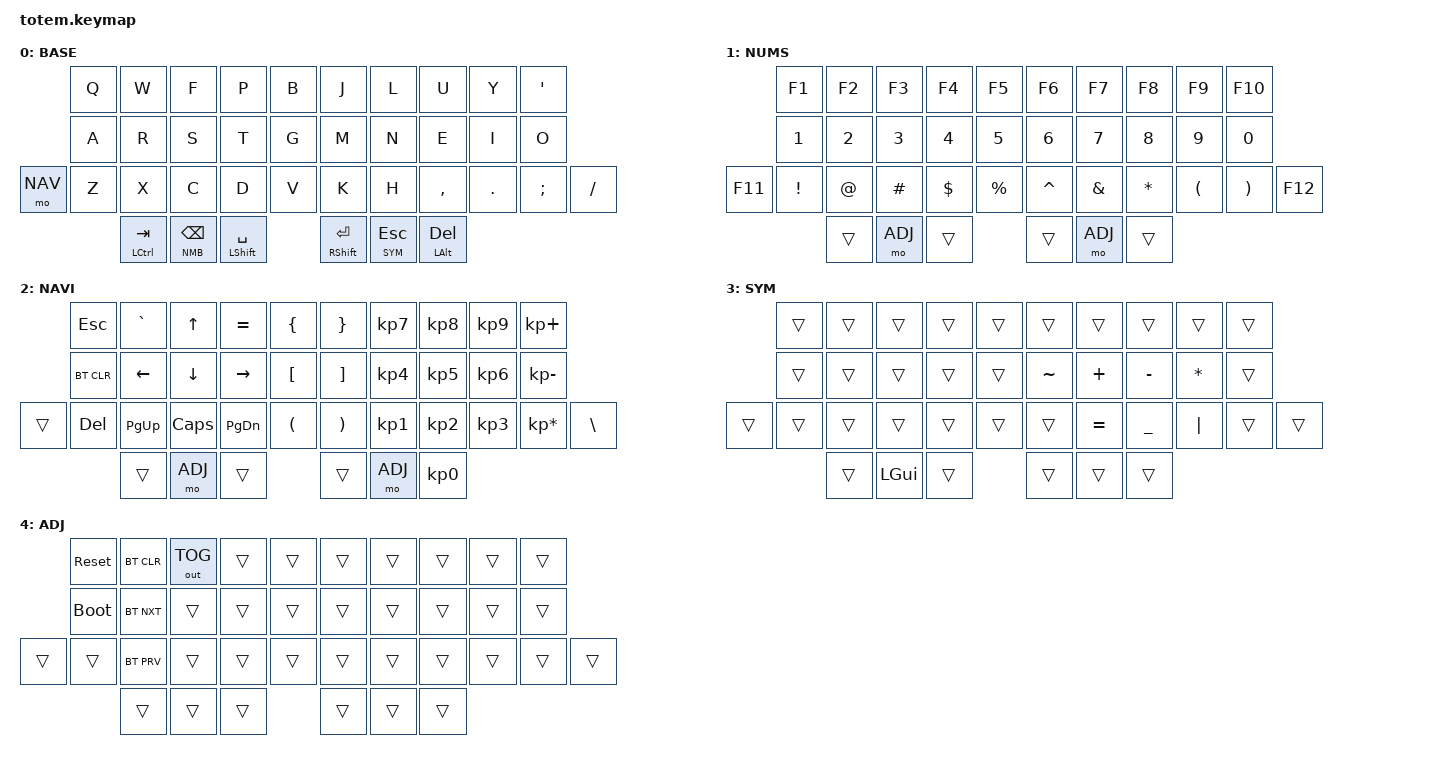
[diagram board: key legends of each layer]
//
//                                                        ▀▀▀▀▀     ▀▀▀▀▀          ▀▀█▀▀
//                                                        ▄▀▀▀▄  ▄  ▄▀▀▀▄  ▄  ▄▀▀▀▄  █  ▄▀▀▀▄
//                                                        █   █  █  █   █  █  █   █  █  █   █
//                                                         ▀▀▀   █   ▀▀▀   █   ▀▀▀   ▀   ▀▀▀
//                                                               █      ▄▄▄█▄▄▄    █   █  
//                                                               ▀      █  █  █     █▄█
//                                                             ▀▀▀▀▀    █  █  █      ▀
//                                                                      ▀  ▀  ▀
//
// ▄▄▄▄▄▄▄▄▄▄▄▄▄▄▄▄▄▄▄▄▄▄▄▄▄▄▄▄▄▄▄▄▄▄▄▄▄▄▄▄▄▄▄▄▄▄▄▄▄▄▄▄▄▄▄▄▄▄▄▄▄▄▄▄▄▄▄▄▄▄▄▄▄▄▄▄▄▄▄▄▄▄▄▄▄▄▄▄▄▄▄▄▄▄▄▄▄▄▄▄▄▄▄▄▄▄▄▄▄▄▄▄▄▄▄▄▄▄▄▄▄▄▄▄▄▄▄▄▄▄▄▄▄▄▄▄▄▄▄▄▄▄▄▄▄▄▄▄▄
       

#include <behaviors.dtsi>
#include <dt-bindings/zmk/keys.h>
#include <dt-bindings/zmk/bt.h>
#include <dt-bindings/zmk/outputs.h>

#define BASE 0
#define NMB  1
#define NAV  2
#define SYM  3
#define ADJ  4

&mt {
  quick-tap-ms = <150>;
  global-quick-tap;
  flavor = "hold-preferred";
  tapping-term-ms = <200>;
};

/ {
    keymap {
        compatible = "zmk,keymap";
// ▄▄▄▄▄▄▄▄▄▄▄▄▄▄▄▄▄▄▄▄▄▄▄▄▄▄▄▄▄▄▄▄▄▄▄▄▄▄▄▄▄▄▄▄▄▄▄▄▄▄▄▄▄▄▄▄▄▄▄▄▄▄▄▄▄▄▄▄▄▄▄▄▄▄▄▄▄▄▄▄▄▄▄▄▄▄▄▄▄▄▄▄▄▄▄▄▄▄▄▄▄▄▄▄▄▄▄▄▄▄▄▄▄▄▄▄▄▄▄▄▄▄▄▄▄▄▄▄▄▄▄▄▄▄▄▄▄▄▄▄▄▄▄▄▄▄▄▄▄

        base_layer {    
// ┏━━━━━━━━━━━━━━━━━━━━━━━━━━━━━━━━━━━━━━━┓
label= "BASE"                              ;
// ┗━━━━━━━━━━━━━━━━━━━━━━━━━━━━━━━━━━━━━━━┛
//             ┏━━━━━━━━━━━┳━━━━━━━━━━━┳━━━━━━━━━━━┳━━━━━━━━━━━┳━━━━━━━━━━━┓   ┏━━━━━━━━━━━┳━━━━━━━━━━━┳━━━━━━━━━━━┳━━━━━━━━━━━┳━━━━━━━━━━━┓
//             ┃     Q     ┃     W     ┃     F     ┃     P     ┃     B     ┃   ┃     J     ┃     L     ┃     U     ┃     Y     ┃  '    ''  ┃
//             ┣━━━━━━━━━━━╋━━━━━━━━━━━╋━━━━━━━━━━━╋━━━━━━━━━━━╋━━━━━━━━━━━┫   ┣━━━━━━━━━━━╋━━━━━━━━━━━╋━━━━━━━━━━━╋━━━━━━━━━━━╋━━━━━━━━━━━┫
//             ┃     A     ┃     R     ┃     S     ┃     T     ┃     G     ┃   ┃     M     ┃     N     ┃     E     ┃     I     ┃     O     ┃
// ┏━━━━━━━━━━━╋━━━━━━━━━━━╋━━━━━━━━━━━╋━━━━━━━━━━━╋━━━━━━━━━━━╋━━━━━━━━━━━┫   ┣━━━━━━━━━━━╋━━━━━━━━━━━╋━━━━━━━━━━━╋━━━━━━━━━━━╋━━━━━━━━━━━╋━━━━━━━━━━━┓
// ┃    nav    ┃     Z     ┃     X     ┃     C     ┃     D     ┃     V     ┃   ┃     K     ┃     H     ┃     ,     ┃     .     ┃     ;     ┃     /     ┃
// ┗━━━━━━━━━━━┻━━━━━━━━━━━┻━━━━━━━━━━━╋━━━━━━━━━━━╋━━━━━━━━━━━╋━━━━━━━━━━━┫   ┣━━━━━━━━━━━╋━━━━━━━━━━━╋━━━━━━━━━━━╋━━━━━━━━━━━┻━━━━━━━━━━━┻━━━━━━━━━━━┛
//                                     ┃    TAB    ┃    BSPC   ┃    SPC    ┃   ┃    ENTER  ┃    ESC    ┃    DEL    ┃
//                                     ┗━━━━━━━━━━━┻━━━━━━━━━━━┻━━━━━━━━━━━┛   ┗━━━━━━━━━━━┻━━━━━━━━━━━┻━━━━━━━━━━━┛
 bindings = <
// ╷           ╷           ╷           ╷           ╷           ╷           ╷   ╷           ╷           ╷           ╷           ╷           ╷           ╷

                &kp Q       &kp W       &kp F       &kp P       &kp B           &kp J       &kp L       &kp U       &kp Y       &kp APOS
                &kp A       &kp R       &kp S       &kp T       &kp G           &kp M       &kp N       &kp E       &kp I       &kp O
    &mo NAV     &kp Z       &kp X       &kp C       &kp D       &kp V           &kp K       &kp H       &kp COMMA   &kp DOT     &kp SEMI    &kp FSLH
                            &mt LCTRL TAB   &lt NMB BSPC   &mt LSHFT SPACE      &mt RSHFT RET   &lt SYM ESC   &mt LALT DEL
            >;
        };

// ▄▄▄▄▄▄▄▄▄▄▄▄▄▄▄▄▄▄▄▄▄▄▄▄▄▄▄▄▄▄▄▄▄▄▄▄▄▄▄▄▄▄▄▄▄▄▄▄▄▄▄▄▄▄▄▄▄▄▄▄▄▄▄▄▄▄▄▄▄▄▄▄▄▄▄▄▄▄▄▄▄▄▄▄▄▄▄▄▄▄▄▄▄▄▄▄▄▄▄▄▄▄▄▄▄▄▄▄▄▄▄▄▄▄▄▄▄▄▄▄▄▄▄▄▄▄▄▄▄▄▄▄▄▄▄▄▄▄▄▄▄▄▄▄▄▄▄▄▄


        nmb_layer {
// ┏━━━━━━━━━━━━━━━━━━━━━━━━━━━━━━━━━━━━━━━┓
label= "NUMS"                              ;
// ┗━━━━━━━━━━━━━━━━━━━━━━━━━━━━━━━━━━━━━━━┛
//             ┏━━━━━━━━━━━┳━━━━━━━━━━━┳━━━━━━━━━━━┳━━━━━━━━━━━┳━━━━━━━━━━━┓   ┏━━━━━━━━━━━┳━━━━━━━━━━━┳━━━━━━━━━━━┳━━━━━━━━━━━┳━━━━━━━━━━━┓
//             ┃     F1    ┃     F2    ┃     F3    ┃     F4    ┃     F5    ┃   ┃     F6    ┃     F7    ┃     F8    ┃     F9    ┃    F10    ┃
//             ┣━━━━━━━━━━━╋━━━━━━━━━━━╋━━━━━━━━━━━╋━━━━━━━━━━━╋━━━━━━━━━━━┫   ┣━━━━━━━━━━━╋━━━━━━━━━━━╋━━━━━━━━━━━╋━━━━━━━━━━━╋━━━━━━━━━━━┫
//             ┃     1     ┃     2     ┃     3     ┃     4     ┃     5     ┃   ┃     6     ┃     7     ┃     8     ┃     9     ┃     0     ┃
// ┏━━━━━━━━━━━╋━━━━━━━━━━━╋━━━━━━━━━━━╋━━━━━━━━━━━╋━━━━━━━━━━━╋━━━━━━━━━━━┫   ┣━━━━━━━━━━━╋━━━━━━━━━━━╋━━━━━━━━━━━╋━━━━━━━━━━━╋━━━━━━━━━━━╋━━━━━━━━━━━┓
// ┃    F11    ┃     !     ┃     @     ┃     #     ┃     $     ┃     %     ┃   ┃     ^     ┃     &     ┃     *     ┃     (     ┃     )     ┃    F12    ┃
// ┗━━━━━━━━━━━┻━━━━━━━━━━━┻━━━━━━━━━━━╋━━━━━━━━━━━╋━━━━━━━━━━━╋━━━━━━━━━━━┫   ┣━━━━━━━━━━━╋━━━━━━━━━━━╋━━━━━━━━━━━╋━━━━━━━━━━━┻━━━━━━━━━━━┻━━━━━━━━━━━┛
//                                     ┃           ┃    adj    ┃           ┃   ┃           ┃    adj    ┃           ┃
//                                     ┗━━━━━━━━━━━┻━━━━━━━━━━━┻━━━━━━━━━━━┛   ┗━━━━━━━━━━━┻━━━━━━━━━━━┻━━━━━━━━━━━┛
 bindings = <
// ╷           ╷           ╷           ╷           ╷           ╷           ╷   ╷           ╷           ╷           ╷           ╷           ╷           ╷

                &kp F1      &kp F2      &kp F3      &kp F4      &kp F5          &kp F6      &kp F7      &kp F8      &kp F9      &kp F10
                &kp N1      &kp N2      &kp N3      &kp N4      &kp N5          &kp N6      &kp N7      &kp N8      &kp N9      &kp N0
    &kp F11     &kp EXCL    &kp AT      &kp HASH    &kp DLLR    &kp PRCNT       &kp CARET   &kp AMPS    &kp STAR    &kp LPAR    &kp RPAR    &kp F12      
                                        &trans      &mo ADJ     &trans          &trans      &mo ADJ     &trans      
            >;
        };
// ▄▄▄▄▄▄▄▄▄▄▄▄▄▄▄▄▄▄▄▄▄▄▄▄▄▄▄▄▄▄▄▄▄▄▄▄▄▄▄▄▄▄▄▄▄▄▄▄▄▄▄▄▄▄▄▄▄▄▄▄▄▄▄▄▄▄▄▄▄▄▄▄▄▄▄▄▄▄▄▄▄▄▄▄▄▄▄▄▄▄▄▄▄▄▄▄▄▄▄▄▄▄▄▄▄▄▄▄▄▄▄▄▄▄▄▄▄▄▄▄▄▄▄▄▄▄▄▄▄▄▄▄▄▄▄▄▄▄▄▄▄▄▄▄▄▄▄▄▄

        nav_layer {
// ┏━━━━━━━━━━━━━━━━━━━━━━━━━━━━━━━━━━━━━━━┓
label= "NAVI"                              ;
// ┗━━━━━━━━━━━━━━━━━━━━━━━━━━━━━━━━━━━━━━━┛
//             ┏━━━━━━━━━━━┳━━━━━━━━━━━┳━━━━━━━━━━━┳━━━━━━━━━━━┳━━━━━━━━━━━┓   ┏━━━━━━━━━━━┳━━━━━━━━━━━┳━━━━━━━━━━━┳━━━━━━━━━━━┳━━━━━━━━━━━┓
//             ┃    ESC    ┃     `     ┃     UP    ┃     =     ┃     {     ┃   ┃     }     ┃     7     ┃     8     ┃     9     ┃     +     ┃
//             ┣━━━━━━━━━━━╋━━━━━━━━━━━╋━━━━━━━━━━━╋━━━━━━━━━━━╋━━━━━━━━━━━┫   ┣━━━━━━━━━━━╋━━━━━━━━━━━╋━━━━━━━━━━━╋━━━━━━━━━━━╋━━━━━━━━━━━┫
//             ┃ BT CLEAR  ┃   LEFT    ┃    DOWN   ┃   RIGHT   ┃     [     ┃   ┃     ]     ┃     4     ┃     5     ┃     6     ┃     -     ┃
// ┏━━━━━━━━━━━╋━━━━━━━━━━━╋━━━━━━━━━━━╋━━━━━━━━━━━╋━━━━━━━━━━━╋━━━━━━━━━━━┫   ┣━━━━━━━━━━━╋━━━━━━━━━━━╋━━━━━━━━━━━╋━━━━━━━━━━━╋━━━━━━━━━━━╋━━━━━━━━━━━┓
// ┃           ┃    DEL    ┃   P UP    ┃  C LOCK   ┃  P DOWN   ┃     (     ┃   ┃     )     ┃     1     ┃     2     ┃     3     ┃     *     ┃     \     ┃
// ┗━━━━━━━━━━━┻━━━━━━━━━━━┻━━━━━━━━━━━╋━━━━━━━━━━━╋━━━━━━━━━━━╋━━━━━━━━━━━┫   ┣━━━━━━━━━━━╋━━━━━━━━━━━╋━━━━━━━━━━━╋━━━━━━━━━━━┻━━━━━━━━━━━┻━━━━━━━━━━━┛
//                                     ┃           ┃    adj    ┃           ┃   ┃           ┃    adj    ┃     0     ┃
//                                     ┗━━━━━━━━━━━┻━━━━━━━━━━━┻━━━━━━━━━━━┛   ┗━━━━━━━━━━━┻━━━━━━━━━━━┻━━━━━━━━━━━┛
 bindings = <         
// ╷           ╷           ╷           ╷           ╷           ╷           ╷   ╷           ╷           ╷           ╷           ╷           ╷           ╷

                &kp ESC     &kp GRAVE   &kp UP      &kp EQUAL   &kp LBRC        &kp RBRC    &kp KP_N7   &kp KP_N8   &kp KP_N9   &kp KP_PLUS
                &bt BT_CLR  &kp LEFT    &kp DOWN    &kp RIGHT   &kp LBKT        &kp RBKT    &kp KP_N4   &kp KP_N5   &kp KP_N6   &kp KP_MINUS
    &trans      &kp DEL     &kp PG_UP   &kp CAPS    &kp PG_DN   &kp LPAR        &kp RPAR    &kp KP_N1   &kp KP_N2   &kp KP_N3   &kp KP_MULTIPLY &kp BSLH      
                                        &trans      &mo ADJ     &trans          &trans      &mo ADJ     &kp KP_N0      
            >;
        };

// ▄▄▄▄▄▄▄▄▄▄▄▄▄▄▄▄▄▄▄▄▄▄▄▄▄▄▄▄▄▄▄▄▄▄▄▄▄▄▄▄▄▄▄▄▄▄▄▄▄▄▄▄▄▄▄▄▄▄▄▄▄▄▄▄▄▄▄▄▄▄▄▄▄▄▄▄▄▄▄▄▄▄▄▄▄▄▄▄▄▄▄▄▄▄▄▄▄▄▄▄▄▄▄▄▄▄▄▄▄▄▄▄▄▄▄▄▄▄▄▄▄▄▄▄▄▄▄▄▄▄▄▄▄▄▄▄▄▄▄▄▄▄▄▄▄▄▄▄▄


        sim_layer {
// ┏━━━━━━━━━━━━━━━━━━━━━━━━━━━━━━━━━━━━━━━┓
label= "SYM"                               ;
// ┗━━━━━━━━━━━━━━━━━━━━━━━━━━━━━━━━━━━━━━━┛
//             ┏━━━━━━━━━━━┳━━━━━━━━━━━┳━━━━━━━━━━━┳━━━━━━━━━━━┳━━━━━━━━━━━┓   ┏━━━━━━━━━━━┳━━━━━━━━━━━┳━━━━━━━━━━━┳━━━━━━━━━━━┳━━━━━━━━━━━┓
//             ┃           ┃           ┃           ┃           ┃           ┃   ┃           ┃           ┃           ┃           ┃           ┃
//             ┣━━━━━━━━━━━╋━━━━━━━━━━━╋━━━━━━━━━━━╋━━━━━━━━━━━╋━━━━━━━━━━━┫   ┣━━━━━━━━━━━╋━━━━━━━━━━━╋━━━━━━━━━━━╋━━━━━━━━━━━╋━━━━━━━━━━━┫
//             ┃           ┃           ┃           ┃           ┃           ┃   ┃     ~     ┃     +     ┃     -     ┃     *     ┃           ┃
// ┏━━━━━━━━━━━╋━━━━━━━━━━━╋━━━━━━━━━━━╋━━━━━━━━━━━╋━━━━━━━━━━━╋━━━━━━━━━━━┫   ┣━━━━━━━━━━━╋━━━━━━━━━━━╋━━━━━━━━━━━╋━━━━━━━━━━━╋━━━━━━━━━━━╋━━━━━━━━━━━┓
// ┃           ┃           ┃           ┃           ┃           ┃           ┃   ┃           ┃     =     ┃     _     ┃     |     ┃           ┃           ┃
// ┗━━━━━━━━━━━┻━━━━━━━━━━━┻━━━━━━━━━━━╋━━━━━━━━━━━╋━━━━━━━━━━━╋━━━━━━━━━━━┫   ┣━━━━━━━━━━━╋━━━━━━━━━━━╋━━━━━━━━━━━╋━━━━━━━━━━━┻━━━━━━━━━━━┻━━━━━━━━━━━┛
//                                     ┃           ┃    WIN    ┃           ┃   ┃           ┃           ┃           ┃
//                                     ┗━━━━━━━━━━━┻━━━━━━━━━━━┻━━━━━━━━━━━┛   ┗━━━━━━━━━━━┻━━━━━━━━━━━┻━━━━━━━━━━━┛
 bindings = <
// ╷           ╷           ╷           ╷           ╷           ╷           ╷   ╷           ╷           ╷           ╷           ╷           ╷           ╷

                &trans      &trans      &trans      &trans      &trans          &trans      &trans      &trans      &trans      &trans       
                &trans      &trans      &trans      &trans      &trans          &kp TILDE   &kp PLUS    &kp MINUS   &kp STAR    &trans
    &trans      &trans      &trans      &trans      &trans      &trans          &trans      &kp EQUAL   &kp UNDER   &kp PIPE    &trans   &trans         
                                        &trans      &kp LGUI    &trans          &trans      &trans      &trans      
           >;
        };

// ▄▄▄▄▄▄▄▄▄▄▄▄▄▄▄▄▄▄▄▄▄▄▄▄▄▄▄▄▄▄▄▄▄▄▄▄▄▄▄▄▄▄▄▄▄▄▄▄▄▄▄▄▄▄▄▄▄▄▄▄▄▄▄▄▄▄▄▄▄▄▄▄▄▄▄▄▄▄▄▄▄▄▄▄▄▄▄▄▄▄▄▄▄▄▄▄▄▄▄▄▄▄▄▄▄▄▄▄▄▄▄▄▄▄▄▄▄▄▄▄▄▄▄▄▄▄▄▄▄▄▄▄▄▄▄▄▄▄▄▄▄▄▄▄▄▄▄▄▄


        adjust_layer {
// ┏━━━━━━━━━━━━━━━━━━━━━━━━━━━━━━━━━━━━━━━┓
label= "ADJ"                               ;
// ┗━━━━━━━━━━━━━━━━━━━━━━━━━━━━━━━━━━━━━━━┛
//             ┏━━━━━━━━━━━┳━━━━━━━━━━━┳━━━━━━━━━━━┳━━━━━━━━━━━┳━━━━━━━━━━━┓   ┏━━━━━━━━━━━┳━━━━━━━━━━━┳━━━━━━━━━━━┳━━━━━━━━━━━┳━━━━━━━━━━━┓
//             ┃   RESET   ┃ BT CLEAR  ┃  OUT TOG  ┃           ┃           ┃   ┃           ┃           ┃           ┃           ┃           ┃
//             ┣━━━━━━━━━━━╋━━━━━━━━━━━╋━━━━━━━━━━━╋━━━━━━━━━━━╋━━━━━━━━━━━┫   ┣━━━━━━━━━━━╋━━━━━━━━━━━╋━━━━━━━━━━━╋━━━━━━━━━━━╋━━━━━━━━━━━┫
//             ┃ BOOTLOAD  ┃ BT NEXT   ┃           ┃           ┃           ┃   ┃           ┃           ┃           ┃           ┃           ┃
// ┏━━━━━━━━━━━╋━━━━━━━━━━━╋━━━━━━━━━━━╋━━━━━━━━━━━╋━━━━━━━━━━━╋━━━━━━━━━━━┫   ┣━━━━━━━━━━━╋━━━━━━━━━━━╋━━━━━━━━━━━╋━━━━━━━━━━━╋━━━━━━━━━━━╋━━━━━━━━━━━┓
// ┃           ┃           ┃ BT PREV   ┃           ┃           ┃           ┃   ┃           ┃           ┃           ┃           ┃           ┃           ┃
// ┗━━━━━━━━━━━┻━━━━━━━━━━━┻━━━━━━━━━━━╋━━━━━━━━━━━╋━━━━━━━━━━━╋━━━━━━━━━━━┫   ┣━━━━━━━━━━━╋━━━━━━━━━━━╋━━━━━━━━━━━╋━━━━━━━━━━━┻━━━━━━━━━━━┻━━━━━━━━━━━┛
//                                     ┃           ┃           ┃           ┃   ┃           ┃           ┃           ┃
//                                     ┗━━━━━━━━━━━┻━━━━━━━━━━━┻━━━━━━━━━━━┛   ┗━━━━━━━━━━━┻━━━━━━━━━━━┻━━━━━━━━━━━┛
 bindings = <
// ╷           ╷           ╷           ╷           ╷           ╷           ╷   ╷           ╷           ╷           ╷           ╷           ╷           ╷

                &sys_reset  &bt BT_CLR &out OUT_TOG &trans      &trans          &trans      &trans      &trans      &trans      &trans
                &bootloader &bt BT_NXT  &trans      &trans      &trans          &trans      &trans      &trans      &trans      &trans  
    &trans      &trans      &bt BT_PRV  &trans      &trans      &trans          &trans      &trans      &trans      &trans      &trans      &trans         
                                        &trans      &trans      &trans          &trans      &trans      &trans      
            >;
        };
    };
};
